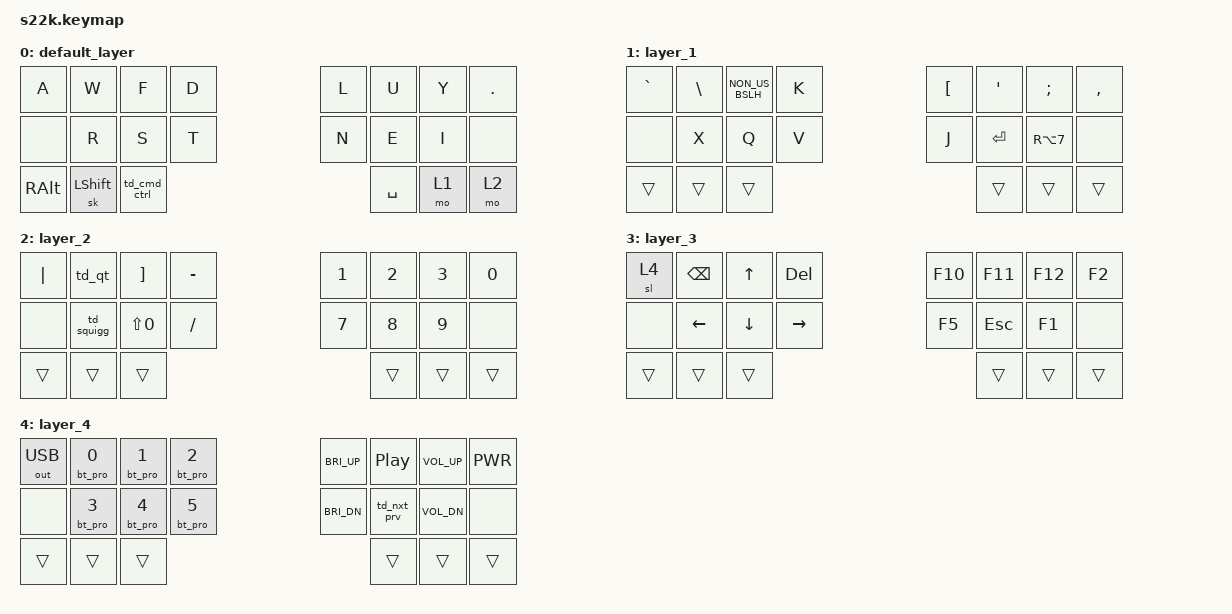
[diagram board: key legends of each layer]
/*
 * Copyright (c) 2022 Daniel Grenehed
 *
 * SPDX-License-Identifier: MIT
 */

#include <behaviors.dtsi>
#include <dt-bindings/zmk/keys.h>
#include <dt-bindings/zmk/outputs.h>
#include <dt-bindings/zmk/bt.h>

/*
	Board layout

	key numbers:  

	    --------------U--       	    	    --U--------------
	----| 1 | 2 | 3 |[n]|     	    	    |[n]| 4 | 5 | 6 |----
	| 0 | 9 | 10| 11|[!]|      	    	    |[!]| 12| 13| 14| 7 |
	| 8 |-----------|[n]|=---               ---=|[n]|-----------| 15|
	-----       | 16| 17| 18|               | 19| 20| 21|       -----
	            -------------	        -------------
	
	// 8 and 15 NC

*/
		
&mt {
	retro-tap;
};

&sk {
  release-after-ms= <1000>;
  quick-release;
  /delete-property/ ignore-modifiers;
};

/ {
	macros {
		bt_pro: set_bt_profile {
			label = "UseBluetoothProfile";
			compatible = "zmk,behavior-macro-one-param";
			#binding-cells = <1>;
			bindings
				= <&macro_param_1to2>
				, <&bt BT_SEL 0>
				, <&out OUT_BLE>
				;
		};
    	};

	behaviors {
       		td_cmd_ctrl: td-cmd-ctrl {
		    compatible = "zmk,behavior-tap-dance";
		    label = "CMD-CTRL";
		    #binding-cells = <0>;
		    tapping-term-ms = <200>;
		    bindings = <&kp LCTRL>, <&kp LGUI>;
		};
		td_qt: strofe { /* ´ ` */
			compatible = "zmk,behavior-tap-dance";
			label = "STROFE";
			#binding-cells = <0>;
			tapping-term-ms = <200>;
			bindings = <&kp EQUAL>, <&kp LS(EQUAL)>;
		};
		td_nxt_prv: nextprev {
			compatible = "zmk,behavior-tap-dance";
			label = "NextPrev";
			#binding-cells = <0>;
			tapping-term-ms = <200>;
			bindings = <&kp C_NEXT>, <&kp C_PREV>;
		};
		td_squigg: squigg {
			compatible = "zmk,behavior-tap-dance";
			label = "Squigg";
			#binding-cells = <0>;
			tapping-term-ms = <200>;
			bindings = <&kp RA(RBKT)>, <&kp RA(N0)>;
		};
    	};

	keymap {
		compatible = "zmk,keymap";

		default_layer {
			// --------------------------------------------------------
			// | A | W | F | D |		 	  | L | U | Y | . |
			// |   | R | S | T |		 	  | N | E | I |   |
			// | ALT | SHIFT | WIN/CTRl |           | SPACE | MO | MO |
			// --------------------------------------------------------
			bindings = <
				&kp A &kp W &kp F &kp D					&kp L &kp U &kp Y &kp DOT
				&none &kp R &kp S &kp T 				&kp N &kp E &kp I &none  
				 &kp RALT &sk LSHIFT &td_cmd_ctrl		&kp SPACE &mo 1 &mo 2
			>;
		};

		layer_1 {
			// --------------------------------------------------
			// | < | ' | < | K |		| Å | Ä | Ö | , |
			// |   | X | Q | V |		| J | ENTER | | |   |
			// | ALT | SHIFT | WIN |          | SPACE | MO | MO |
			// --------------------------------------------------
			bindings = <
				&kp GRAVE &kp BSLH &kp NON_US_BSLH &kp K 		&kp LBKT &kp APOS &kp SEMI &kp COMMA
				&none &kp X &kp Q &kp V 		&kp J &kp RET &kp RA(N7) &none
				     &trans &trans &trans			&trans &trans &trans 
			>;
		};

		layer_2 {
			// ----------------------------------------------
			// | | | ´` | ¨ | + |		| 1 | 2 | 3 | 0 |
			// |   | ~≈ | = | - |		| 7 | 8 | 9 |   |
			// | ALT | SHIFT | WIN |      | SPACE | MO | MO |
			// ----------------------------------------------
			bindings = <
				&kp PIPE &td_qt &kp RBKT &kp MINUS	&kp N1 &kp N2 &kp N3 &kp N0
				&none &td_squigg &kp LS(N0) &kp FSLH 	&kp N7 &kp N8 &kp N9 &none
				&trans &trans &trans			&trans &trans &trans
			>;
		};
		
		layer_3 {
			// --------------------------------------------------------------
			// | sl4 | Backspace | UP | DELETE |	 | F10 | F11 | F12 | F2 |
			// |  | RIGHT | DOWN | LEFT |	         | F5 | ESC | F1 |  |
			// | ALT | SHIFT | WIN |                 | SPACE | MO | MO |
			// --------------------------------------------------------------
			bindings = <
				&sl 4 &kp BSPC &kp UP &kp DEL	&kp F10 &kp F11 &kp F12 &kp F2
				&none &kp LEFT &kp DOWN &kp RIGHT 		&kp F5 &kp ESC &kp F1 &none
				 &trans &trans &trans			    	&trans &trans &trans
			>;
		};

		layer_4 {
			// --------------------------------------------------------------------------------------
			// | out_toggle | bt0 | bt1 | bt2 |	| Brightness up | play/pause | volume up | Lock |
			// | | bt3 | bt4 | bt5 |	| Brightness down | Next/Prev | volume down | |
			// | ALT | SHIFT | WIN |                | SPACE | MO | MO |
			// --------------------------------------------------------------------------------------
			bindings = <
				&out OUT_USB &bt_pro 0 &bt_pro 1 &bt_pro 2	&kp C_BRI_UP &kp C_PP &kp C_VOL_UP &kp K_PWR
				&none &bt_pro 3 &bt_pro 4 &bt_pro 5 	&kp C_BRI_DN &td_nxt_prv &kp C_VOL_DN &none
				 &trans &trans &trans			&trans &trans &trans
			>;
		};

	};

	conditional_layers {
        compatible = "zmk,conditional-layers";
        tri_layer {
            if-layers = <1 2>;
            then-layer = <3>;
        };
    };	
};


/ {
    combos {
        compatible = "zmk,combos";

		/*

			Layer 0 In-between row

			| upper row
			-----------------------------------------
			|   | P | C | G |	| M | H | O |   |
			-----------------------------------------
			| lower row
		*/
		combo_btn_2l0 {
			timeout-ms = <30>;
			key-positions = <1 9>;
			layers = <0>;
			bindings = <&kp P>;
		};
		combo_btn_3l0 {
			timeout-ms = <30>;
			key-positions = <2 10>;
			layers = <0>;
			bindings = <&kp C>;
		};
        	combo_btn_4l0 {
            		timeout-ms = <30>;
            		key-positions = <3 11>;
			layers = <0>;
            		bindings = <&kp G>;
        	};
		combo_btn_5l0 {
			timeout-ms = <30>;
			key-positions = <4 12>;
			layers = <0>;
			bindings = <&kp M>;
		};
		combo_btn_6l0 {
			timeout-ms = <30>;
			key-positions = <5 13>;
			layers = <0>;
			bindings = <&kp H>;
		};
		combo_btn_7l0 {
			timeout-ms = <30>;
			key-positions = <6 14>;
			layers = <0>;
			bindings = <&kp O>;
		};
		
		/*
			Layer 1 In-between row

			| upper row
			-----------------------------------------
			|   | Z | TAB | B |	| ? | & | ! |   |
			-----------------------------------------
			| lower row
		*/
		combo_btn_2l1 {
			timeout-ms = <30>;
			key-positions = <1 9>;
			layers = <1>;
			bindings = <&kp Z>;
		};
		combo_btn_3l1 {
			timeout-ms = <30>;
			key-positions = <2 10>;
			layers = <1>;
			bindings = <&kp TAB>;
		};
		combo_btn_4l1 {
			timeout-ms = <30>;
			key-positions = <3 11>;
			layers = <1>;
			bindings = <&kp B>;
		};

		combo_btn_5l1 {
			timeout-ms = <30>;
			key-positions = <4 12>;
			layers = <1>;
			bindings = <&kp LS(MINUS)>;
		};
		combo_btn_6l1 {
			timeout-ms = <30>;
			key-positions = <5 13>;
			layers = <1>;
			bindings = <&kp LS(N6)>;
		};
		combo_btn_7l1 {
			timeout-ms = <30>;
			key-positions = <6 14>;
			layers = <1>;
			bindings = <&kp LS(N1)>;
		};

		/*
			Layer 2 In-between row

			-----------------------------------------
			|   | CAPS | # | * |	| 4 | 5 | 6 |   |
			-----------------------------------------

		*/
		combo_btn_2l2 {
			timeout-ms = <30>;
			key-positions = <1 9>;
			layers = <2>;
			bindings = <&kp CAPS>;
		};
		combo_btn_3l2 {
			timeout-ms = <30>;
			key-positions = <2 10>;
			layers = <2>;
			bindings = <&kp HASH>;
		};
		combo_btn_4l2 {
			timeout-ms = <30>; 
			key-positions = <3 11>;
			layers = <2>;
			bindings = <&kp LS(BSLH)>;
		};
		combo_btn_5l2 {
			timeout-ms = <30>;
			key-positions = <4 12>;
			layers = <2>;
			bindings = <&kp N4>;
		};
		combo_btn_6l2 {
			timeout-ms = <30>;
			key-positions = <5 13>;
			layers = <2>;
			bindings = <&kp N5>;
		};
		combo_btn_7l2 {
			timeout-ms = <30>;
			key-positions = <6 14>;
			layers = <2>;
			bindings = <&kp N6>;
		};
		
		/* 
			Layer 3 In-between row

			--------------------------------------------------
			| | F3 | F4 | F6 |		| F7 | F8 | F9 | |
			--------------------------------------------------
		*/
		combo_btn_2l3 {
			timeout-ms = <30>;
			key-positions = <1 9>;
			layers = <3>;
			bindings = <&kp F3>;
		};
		combo_btn_3l3 {
			timeout-ms = <30>;
			key-positions = <2 10>;
			layers = <3>;
			bindings = <&kp F4>;
		};
		combo_btn_4l3 {
			timeout-ms = <30>;
			key-positions = <3 11>;
			layers = <3>;
			bindings = <&kp F6>;
		};
		combo_btn_5l3 {
			timeout-ms = <30>;
			key-positions = <4 12>;
			layers = <3>;
			bindings = <&kp F7>;
		};
		combo_btn_6l3 {
			timeout-ms = <30>;
			key-positions = <5 13>;
			layers = <3>;
			bindings = <&kp F8>;
		};
		combo_btn_7l3 {
			timeout-ms = <30>;
			key-positions = <6 14>;
			layers = <3>;
			bindings = <&kp F9>;
		};

		/* 
			Layer 4 In-between row
			-------------------------------------------------------------
			|  |  |  |  |		| Flash | Clear bt profile | ? | |
			-------------------------------------------------------------
		*/
		combo_btn_2l4 {
			timeout-ms = <30>;
			key-positions = <1 9>;
			layers = <4>;
			bindings = <&trans>;
		};
		combo_btn_3l4 {
			timeout-ms = <30>;
			key-positions = <2 10>;
			layers = <4>;
			bindings = <&trans>;
		};
		combo_btn_4l4 {
			timeout-ms = <30>;
			key-positions = <3 11>;
			layers = <4>;
			bindings = <&trans>;
		};
		combo_btn_5l4 {
			timeout-ms = <30>;
			key-positions = <4 12>;
			layers = <4>;
			bindings = <&bootloader>;
		};
		combo_btn_6l4 {
			timeout-ms = <30>;
			key-positions = <5 13>;
			layers = <4>;
			bindings = <&bt BT_CLR>;
		};
		combo_btn_7l4 {
			timeout-ms = <30>;
			key-positions = <6 14>;
			layers = <4>;
			bindings = <&kp UNDER>;
		};

		/*
			Special combos
		*/
		/*
			key numbers:
			    --------------U--       	    	    --U--------------
			----| 1 | 2 | 3 |[n]|     	    	    |[n]| 4 | 5 | 6 |----
			| 0 | 9 | 10| 11|[!]|      	    	    |[!]| 12| 13| 14| 7 |
			| 8 |-----------|[n]|=---               ---=|[n]|-----------| 15|
			-----       | 16| 17| 18|               | 19| 20| 21|       -----
			            -------------	        -------------
			// 8 and 15 NC
		*/
		combo_up_left {
			timeout-ms = <60>;
			key-positions = <1 2 3>;
			layers = <0>;
			bindings = <&kp F14>;
		};
		combo_up_right {
			timeout-ms = <60>;
			key-positions = <4 5 6>;
			layers = <0>;
			bindings = <&kp F15>;
		};
		combo_home_left {
			timeout-ms = <60>;
			key-positions = <1 2 3 9 10 11>;
			layers = <0>;
			bindings = <&kp F18>;
		};
		combo_home_right {
			timeout-ms = <60>;
			key-positions = <4 5 6 12 13 14>;
			layers = <0>;
			bindings = <&kp F19>;
		};
		combo_down_left {
			timeout-ms = <60>;
			key-positions = <9 10 11>;
			layers = <0>;
			bindings = <&kp F16>;
		};
		combo_down_right {
			timeout-ms = <60>;
			key-positions = <12 13 14>;
			layers = <0>;
			bindings = <&kp F17>;
		};
		
    };
};
